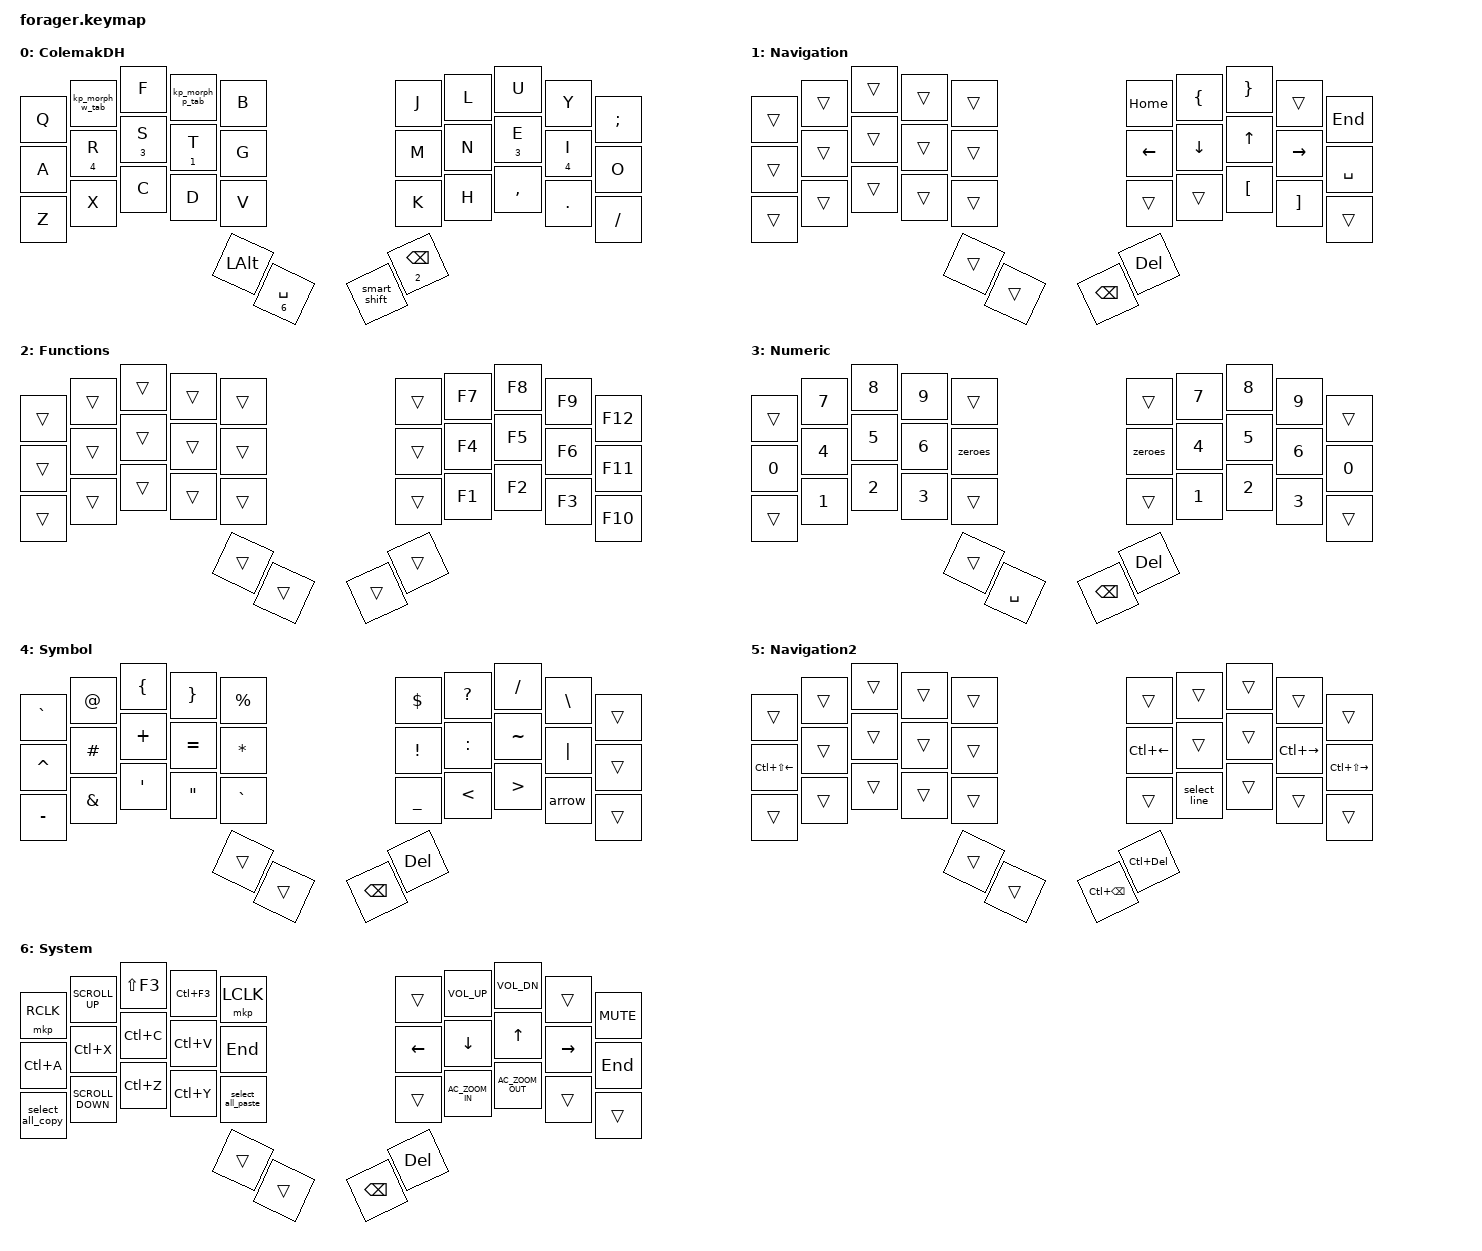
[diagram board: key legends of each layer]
#include <behaviors/mouse_keys.dtsi>
#include <dt-bindings/zmk/mouse.h>

#define ZMK_POINTING_DEFAULT_MOVE_VAL 1100  // default: 600
#define ZMK_POINTING_DEFAULT_SCRL_VAL 20    // default: 10

#include <behaviors.dtsi>
#include <dt-bindings/zmk/keys.h>
#include <dt-bindings/zmk/pointing.h>

#define BASE 0
#define NAV 1
#define FUN 2
#define NUM 3
#define SYMBOL 4
#define NAV2 5
#define SYS 6


/ {
    behaviors {
        smart_shift: smart_shift {
            compatible = "zmk,behavior-mod-morph";
            #binding-cells = <0>;
            bindings = <&sk LSHFT>, <&caps_word>;

            mods = <(MOD_LSFT|MOD_RSFT)>;
        };

        hold_tap_layer_kp: hold_tap_layer_kp {
            compatible = "zmk,behavior-hold-tap";
            label = "HOLD_TAP_LAYER_KP";
            bindings = <&lt>, <&kp>;

            #binding-cells = <2>;
            tapping-term-ms = <50>;
            flavor = "hold-preferred";
        };

        kp_morph_w_tab: kp_morph_w_tab {
            compatible = "zmk,behavior-mod-morph";
            label = "KP_MORPH_W_TAB";
            bindings = <&kp W>, <&kp LS(TAB)>;

            #binding-cells = <0>;
            mods = <(MOD_LALT)>;
        };

        kp_morph_p_tab: kp_morph_p_tab {
            compatible = "zmk,behavior-mod-morph";
            label = "KP_MORPH_P_TAB";
            bindings = <&kp P>, <&kp TAB>;

            #binding-cells = <0>;
            mods = <(MOD_LALT)>;
        };
    };


    macros {
        zeroes: zeroes {
            compatible = "zmk,behavior-macro";
            #binding-cells = <0>;
            bindings = <&kp N0 &kp N0 &kp N0>;
            label = "ZEROES";
        };

        arrow: arrow {
            compatible = "zmk,behavior-macro";
            #binding-cells = <0>;
            bindings = <&kp MINUS &kp GREATER_THAN>;
            label = "ARROW";
        };

        select_all_copy: select_all_copy {
            compatible = "zmk,behavior-macro";
            #binding-cells = <0>;
            bindings = <&kp LC(A) &kp LC(C)>;
            label = "SELECT_ALL_COPY";
        };

        select_all_paste: select_all_paste {
            compatible = "zmk,behavior-macro";
            #binding-cells = <0>;
            bindings = <&kp LC(A) &kp LC(V)>;
            label = "SELECT_ALL_PASTE";
        };

        select_line: select_line {
            compatible = "zmk,behavior-macro";
            #binding-cells = <0>;
            bindings = <&kp HOME &kp LS(END)>;
            label = "SELECT_LINE";
        };
    };

    combos {
        compatible = "zmk,combos";

        ctrl_alt_del {
            bindings = <&kp LA(LC(DELETE))>;
            key-positions = <20 29>;
        };

        snip_tool {
            bindings = <&kp LG(LS(S))>;
            key-positions = <0 4>;
        };

        bracket_right {
            bindings = <&kp RIGHT_BRACKET>;
            key-positions = <6 8>;
        };

        bracket_left {
            bindings = <&kp LEFT_BRACKET>;
            key-positions = <1 3>;
        };

        parentesis_left {
            bindings = <&kp LEFT_PARENTHESIS>;
            key-positions = <21 23>;
        };

        parentesis_right {
            bindings = <&kp RIGHT_PARENTHESIS>;
            key-positions = <26 28>;
        };

        shortcut_save {
            bindings = <&kp LC(S)>;
            key-positions = <12 13>;
            layers = <6>;
        };

        caps_word {
            bindings = <&caps_word>;
            key-positions = <14 15>;
        };

        enter_return {
            bindings = <&kp ENTER>;
            key-positions = <27 28>;
        };
    };

    keymap {
        compatible = "zmk,keymap";

        base {
            bindings = <
  &kp Q  &kp_morph_w_tab         &kp F                   &kp_morph_p_tab         &kp B                         &kp J         &kp L                           &kp U                   &kp Y                   &kp SEMICOLON
  &kp A  &hold_tap_layer_kp 4 R  &hold_tap_layer_kp 3 S  &hold_tap_layer_kp 1 T  &kp G                         &kp M         &kp N                           &hold_tap_layer_kp 3 E  &hold_tap_layer_kp 4 I  &kp O
  &kp Z  &kp X                   &kp C                   &kp D                   &kp V                         &kp K         &kp H                           &kp COMMA               &kp DOT                 &kp FSLH
                                                         &kp LEFT_ALT            &hold_tap_layer_kp 6 SPACE    &smart_shift  &hold_tap_layer_kp 2 BACKSPACE
            >;

            label = "ColemakDH";
        };

        nav {
            bindings = <
  &trans  &trans  &trans  &trans  &trans    &kp HOME        &kp LEFT_BRACE  &kp RIGHT_BRACE  &trans     &kp END
  &trans  &trans  &trans  &trans  &trans    &kp LEFT_ARROW  &kp DOWN        &kp UP_ARROW     &kp RIGHT  &kp SPACE
  &trans  &trans  &trans  &trans  &trans    &trans          &trans          &kp LBKT         &kp RBKT   &trans
                          &trans  &trans    &kp BSPC        &kp DEL
            >;

            label = "Navigation";
        };

        fun {
            bindings = <
  &trans          &trans  &trans  &trans  &trans    &trans  &kp F7  &kp F8  &kp F9  &kp F12
  &trans  &trans  &trans  &trans  &trans    &trans  &kp F4  &kp F5  &kp F6  &kp F11
  &trans    &trans  &trans  &trans  &trans    &trans  &kp F1  &kp F2  &kp F3  &kp F10
                                  &trans  &trans    &trans  &trans
            >;

            label = "Functions";
        };

        num {
            bindings = <
  &trans  &kp N7  &kp N8  &kp N9  &trans       &trans    &kp N7   &kp N8  &kp N9  &trans
  &kp N0  &kp N4  &kp N5  &kp N6  &zeroes      &zeroes   &kp N4   &kp N5  &kp N6  &kp N0
  &trans  &kp N1  &kp N2  &kp N3  &trans       &trans    &kp N1   &kp N2  &kp N3  &trans
                          &trans  &kp SPACE    &kp BSPC  &kp DEL
            >;

            label = "Numeric";
        };

        symbol {
            bindings = <
  &kp GRAVE  &kp AT_SIGN    &kp LEFT_BRACE  &kp RIGHT_BRACE    &kp PERCENT     &kp DOLLAR       &kp QUESTION   &kp FSLH          &kp BSLH  &trans
  &kp CARET  &kp HASH       &kp PLUS        &kp EQUAL          &kp ASTERISK    &kp EXCLAMATION  &kp COLON      &kp TILDE         &kp PIPE  &trans
  &kp MINUS  &kp AMPERSAND  &kp SQT         &kp DOUBLE_QUOTES  &kp GRAVE       &kp UNDERSCORE   &kp LESS_THAN  &kp GREATER_THAN  &arrow    &trans
                                            &trans             &trans          &kp BACKSPACE    &kp DEL
            >;

            label = "Symbol";
        };

        nav2 {
            bindings = <
  &trans                  &trans  &trans  &trans  &trans    &trans             &trans        &trans  &trans         &trans
  &kp LC(LS(LEFT_ARROW))  &trans  &trans  &trans  &trans    &kp LC(LEFT)       &trans        &trans  &kp LC(RIGHT)  &kp LC(LS(RIGHT))
  &trans                  &trans  &trans  &trans  &trans    &trans             &select_line  &trans  &trans         &trans
                                          &trans  &trans    &kp LC(BACKSPACE)  &kp LC(DEL)
            >;

            label = "Navigation2";
        };

        sys {
            bindings = <
  &mkp RCLK         &kp K_SCROLL_UP    &kp LS(F3)  &kp LC(F3)  &mkp LCLK            &trans          &kp C_VOLUME_UP   &kp C_VOL_DN       &trans     &kp K_MUTE
  &kp LC(A)         &kp LC(X)          &kp LC(C)   &kp LC(V)   &kp END              &kp LEFT_ARROW  &kp DOWN          &kp UP_ARROW       &kp RIGHT  &kp END
  &select_all_copy  &kp K_SCROLL_DOWN  &kp LC(Z)   &kp LC(Y)   &select_all_paste    &trans          &kp C_AC_ZOOM_IN  &kp C_AC_ZOOM_OUT  &trans     &trans
                                                   &trans      &trans               &kp BACKSPACE   &kp DELETE
            >;

            label = "System";
        };
    };
};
